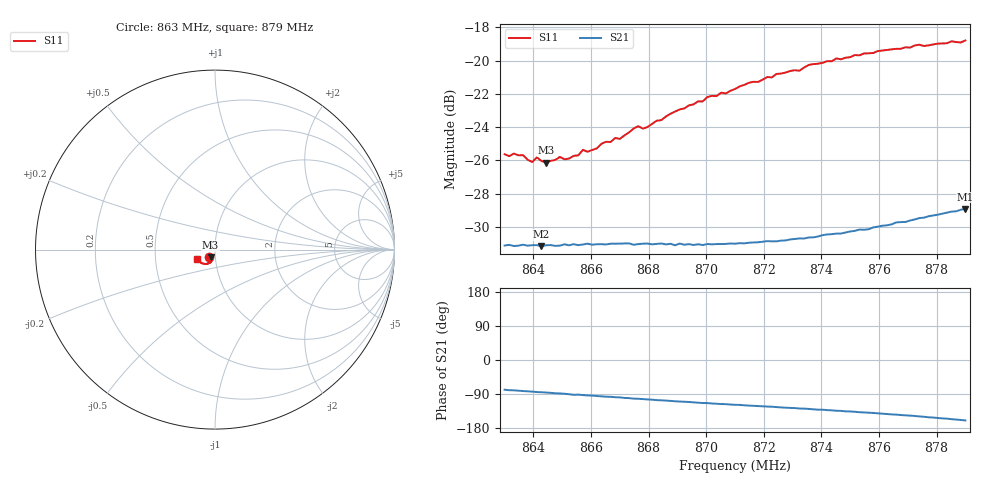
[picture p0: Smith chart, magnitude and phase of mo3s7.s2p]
# HZ S RI R 50
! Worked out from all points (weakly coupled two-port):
!   101 points, 863 MHz to 879 MHz, reference 50 ohm
!   highest |S21| = -28.91 dB at 879 MHz (marker M1); lowest = -31.2 dB at 864.28 MHz (marker M2)
!   lowest |S11| = -26.1 dB at 864.44 MHz (marker M3), VSWR 1.10, Z = 47.4 - j4.08 ohm
!   |S11| at or under -10 dB: start of sweep to end of sweep
!   S12 and S22 are empty: the file has one direction only
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8.63e8  -0.0325 -0.041  0.00559 -0.0272  0 0  0 0
8.6364e8  -0.0294 -0.0429  0.00392 -0.0277  0 0  0 0
8.6396e8  -0.0258 -0.0423  0.00316 -0.0277  0 0  0 0
8.6412e8  -0.0258 -0.0442  0.00262 -0.0278  0 0  0 0
8.6428e8  -0.0297 -0.0402  0.00237 -0.0276  0 0  0 0
8.6444e8  -0.0245 -0.0429  0.00199 -0.0278  0 0  0 0
8.6492e8  -0.0226 -0.0461  0.000869 -0.0278  0 0  0 0
8.6524e8  -0.02 -0.0467  -0.000122 -0.0279  0 0  0 0
8.6556e8  -0.0209 -0.0475  -0.000688 -0.0279  0 0  0 0
8.6572e8  -0.0196 -0.0503  -0.00125 -0.028  0 0  0 0
8.6588e8  -0.0191 -0.0496  -0.00171 -0.0281  0 0  0 0
8.662e8  -0.0198 -0.0508  -0.00243 -0.028  0 0  0 0
8.6684e8  -0.0195 -0.0552  -0.00404 -0.0279  0 0  0 0
8.67e8  -0.0183 -0.0552  -0.00424 -0.0279  0 0  0 0
8.6764e8  -0.02 -0.0603  -0.006 -0.0274  0 0  0 0
8.678e8  -0.0192 -0.0594  -0.00639 -0.0274  0 0  0 0
8.6844e8  -0.0206 -0.063  -0.00795 -0.0271  0 0  0 0
8.7004e8  -0.0278 -0.0726  -0.0113 -0.0257  0 0  0 0
8.71e8  -0.0334 -0.075  -0.0133 -0.0248  0 0  0 0
8.7372e8  -0.0546 -0.0809  -0.019 -0.0225  0 0  0 0
8.7644e8  -0.0814 -0.0713  -0.0259 -0.0191  0 0  0 0
8.79e8  -0.103 -0.051  -0.0336 -0.0125  0 0  0 0
